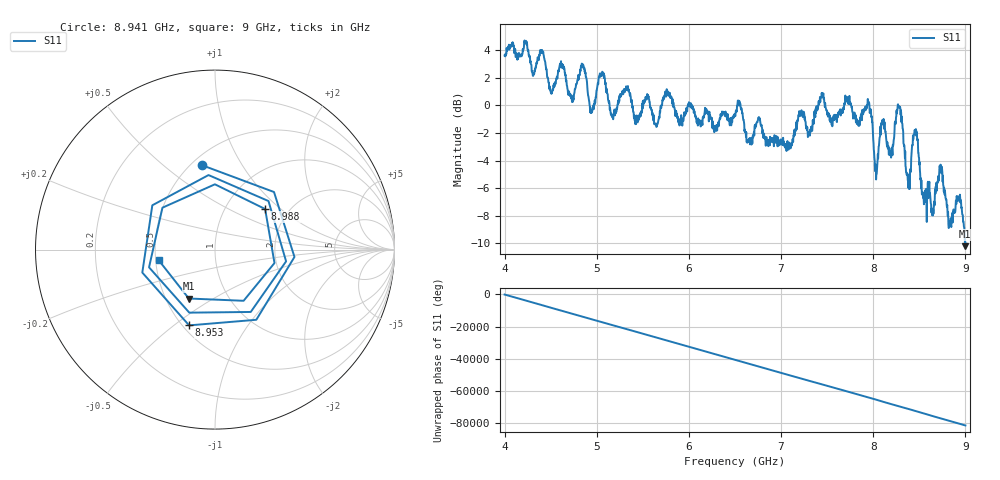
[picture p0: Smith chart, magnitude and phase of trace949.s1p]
! Created with skrf 1.8.0 (http://scikit-rf.org).
# Hz S RI R 50.0
!freq ReS11 ImS11
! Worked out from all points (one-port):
!   1601 points, 4 GHz to 9 GHz, reference 50 ohm
!   lowest |S11| = -10.2 dB at 8.997 GHz (marker M1), VSWR 1.89, Z = 32.6 - j19.6 ohm
!   |S11| at or under -10 dB: 8.995762 GHz to 8.999272 GHz (3.51 MHz wide, 0.039 % of centre)
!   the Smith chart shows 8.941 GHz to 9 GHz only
!   S11 on the Smith chart (normalised r, x): 8.941 GHz: 0.57, +0.69; 8.953 GHz: 0.54, -0.57; 8.988 GHz: 1.53, +0.79; 9 GHz: 0.52, -0.07
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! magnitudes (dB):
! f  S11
! 4 GHz  3.6
! 4.406 GHz  4.0
! 4.509 GHz  0.9
! 4.625 GHz  2.9
! 4.728 GHz  0.7
! 4.853 GHz  2.9
! 4.944 GHz  -0.5
! 5.05 GHz  2.3
! 5.162 GHz  -0.8
! 5.25 GHz  0.6
! 5.875 GHz  -0.9
! 6.5 GHz  -0.7
! 7.125 GHz  -2.5
! 7.441 GHz  0.9
! 7.75 GHz  0.2
! 7.959 GHz  -0.1
! 8.031 GHz  -5.4
! 8.278 GHz  -0.1
! 8.375 GHz  -5.4
! 8.456 GHz  -2.0
! 8.556 GHz  -6.3
! 8.731 GHz  -4.3
! 8.831 GHz  -8.6
! 8.941 GHz  -6.5
! 8.953 GHz  -7.0
! 8.988 GHz  -8.9
! 8.997 GHz  -10.2
! 9 GHz  -9.9
